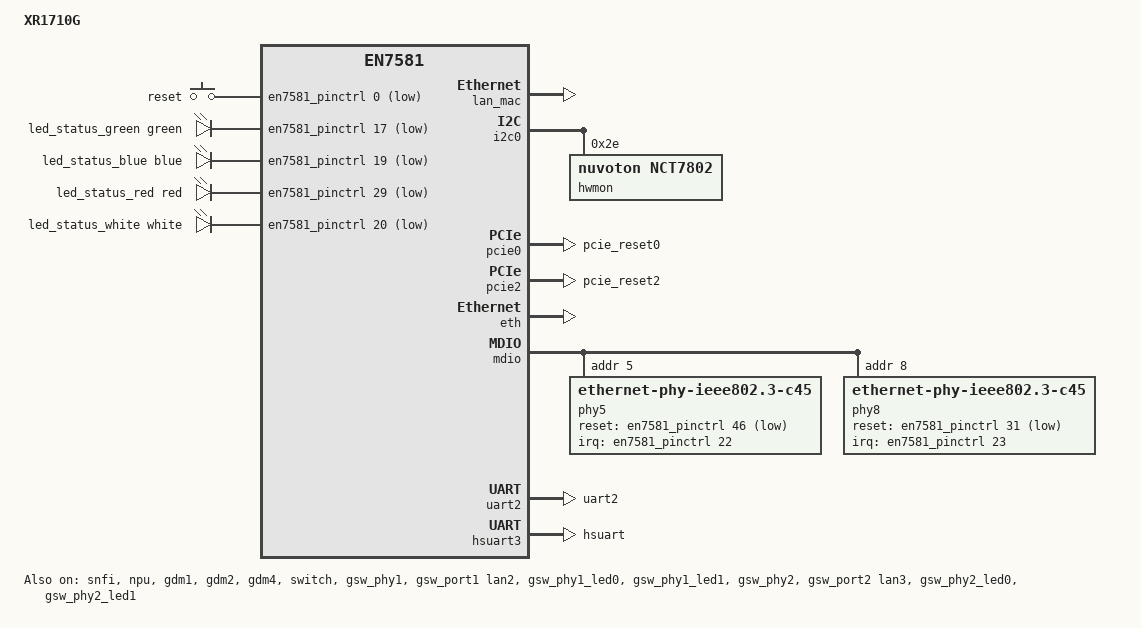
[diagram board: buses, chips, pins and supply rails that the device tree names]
// SPDX-License-Identifier: GPL-2.0-or-later OR MIT

/dts-v1/;

#include <dt-bindings/leds/common.h>
#include <dt-bindings/gpio/gpio.h>
#include <dt-bindings/input/input.h>
#include "an7581.dtsi"

/ {
	model = "XR1710G";
	compatible = "econet,xr1710g-ubi", "gemtek,xr1710g-ubi",
		     "econet,xr1710g", "gemtek,xr1710g",
		     "airoha,an7581", "airoha,en7581";

	aliases {
		serial0 = &uart1;
		led-boot = &led_status_red;
		led-failsafe = &led_status_blue;
		led-upgrade = &led_status_blue;
		led-running = &led_status_green;
	};

	chosen {
		rootdisk = <&ubi_rootfs>;
		bootargs = "console=ttyS0,115200 earlycon ubi.block=0,fit root=/dev/fit0 rootwait";
		stdout-path = "serial0:115200n8";
	};

	keys {
		compatible = "gpio-keys";

		key-restart {
			label = "reset";
			gpios = <&en7581_pinctrl 0 GPIO_ACTIVE_LOW>;
			linux,code = <KEY_RESTART>;
		};
	};

	leds {
		compatible = "gpio-leds";

		led_status_green: led-status-green {
			color = <LED_COLOR_ID_GREEN>;
			function = LED_FUNCTION_STATUS;
			gpios = <&en7581_pinctrl 17 GPIO_ACTIVE_LOW>;
		};

		led_status_blue: led-status-blue {
			color = <LED_COLOR_ID_BLUE>;
			function = LED_FUNCTION_STATUS;
			gpios = <&en7581_pinctrl 19 GPIO_ACTIVE_LOW>;
		};

		led_status_red: led-status-red {
			color = <LED_COLOR_ID_RED>;
			function = LED_FUNCTION_STATUS;
			gpios = <&en7581_pinctrl 29 GPIO_ACTIVE_LOW>;
			default-state = "on";
		};

		led_status_white: led-status-white {
			color = <LED_COLOR_ID_WHITE>;
			function = LED_FUNCTION_STATUS;
			gpios = <&en7581_pinctrl 20 GPIO_ACTIVE_LOW>;
		};

	};
};

&en7581_pinctrl {
	gpio-ranges = <&en7581_pinctrl 0 13 47>;

	mdio_pins: mdio-pins {
		mux {
			function = "mdio";
			groups = "mdio";
		};

		conf {
			pins = "gpio2";
			output-high;
		};
	};

	pcie0_rst_pins: pcie0-rst-pins {
		conf {
			pins = "pcie_reset0";
			drive-open-drain = <1>;
		};
	};

	pcie2_rst_pins: pcie2-rst-pins {
		conf {
			pins = "pcie_reset2";
			drive-open-drain = <1>;
		};
	};

	gswp1_led0_pins: gswp1-led0-pins {
		mux {
			function = "phy1_led0";
			pins = "gpio33";
		};
	};

	gswp1_led1_pins: gswp1-led1-pins {
		mux {
			function = "phy1_led1";
			pins = "gpio43";
		};
	};

	gswp2_led0_pins: gswp2-led0-pins {
		mux {
			function = "phy2_led0";
			pins = "gpio34";
		};
	};

	gswp2_led1_pins: gswp2-led1-pins {
		mux {
			function = "phy2_led1";
			pins = "gpio44";
		};
	};

	uart2_pins: uart2-pins {
		mux {
			function = "uart";
			groups = "uart2";
		};
	};

	hsuart_pins: hsuart-pins {
		mux {
			function = "uart";
			groups = "hsuart";
		};
	};
};

&snfi {
	status = "okay";
};

&spi_nand {
	#address-cells = <1>;
	#size-cells = <1>;
	partitions {
		compatible = "fixed-partitions";
		#address-cells = <1>;
		#size-cells = <1>;

		partition@0 {
			label = "vendor";
			reg = <0x00000000 0x00600000>;
			read-only;
		};

		partition@600000 {
			label = "chainloader";
			reg = <0x00600000 0x00100000>;
			read-only;
		};

		partition@700000 {
			label = "ubi";
			reg = <0x00700000 0x1f700000>;
			compatible = "linux,ubi";

			volumes {
				ubi-volume-ubootenv {
					volname = "ubootenv";
					nvmem-layout {
						compatible = "u-boot,env-redundant-bool";
					};
				};

				ubi-volume-ubootenv2 {
					volname = "ubootenv2";
					nvmem-layout {
						compatible = "u-boot,env-redundant-bool";
					};
				};

				ubi_rootfs: ubi-volume-fit {
					volname = "fit";
				};

				ubi_factory: ubi-volume-factory {
					volname = "factory";
				};
			};
		};

		reserved_bmt@1fe00000 {
			label = "reserved_bmt";
			reg = <0x1fe00000 0x00200000>;
			read-only;
		};
	};
};

&ubi_factory {
	nvmem-layout {
		compatible = "fixed-layout";
		#address-cells = <1>;
		#size-cells = <1>;

		eeprom: eeprom@0 {
			reg = <0x0 0x1e00>;
		};

		wan_mac: macaddr@5000 {
			reg = <0x5000 0x6>;
		};

		lan_mac: macaddr@6000 {
			compatible = "mac-base";
			reg = <0x6000 0x6>;
			#nvmem-cell-cells = <1>;
		};
	};
};

&i2c0 {
	status = "okay";

	hwmon@2e {
		compatible = "nuvoton,nct7802";
		reg = <0x2e>;
	};
};

&pcie0 {
	status = "okay";

	pinctrl-names = "default";
	pinctrl-0 = <&pcie0_rst_pins>;
	pcie@0,0 {
		reg = <0x0000 0 0 0 0>;
		device_type = "pci";
		#address-cells = <3>;
		#size-cells = <2>;

		mt7996@0,0 {
			reg = <0x0000 0 0 0 0>;
			#address-cells = <1>;
			#size-cells = <0>;
			nvmem-cells = <&eeprom>;
			nvmem-cell-names = "eeprom";
			airoha,npu = <&npu>;
			airoha,eth = <&eth>;

			band@0 {
				reg = <0>;
				nvmem-cells = <&lan_mac 1>;
				nvmem-cell-names = "mac-address";
			};

			band@1 {
				reg = <1>;
				nvmem-cells = <&lan_mac 2>;
				nvmem-cell-names = "mac-address";
			};

			band@2 {
				reg = <2>;
				nvmem-cells = <&lan_mac 3>;
				nvmem-cell-names = "mac-address";
			};
		};
	};
};

&pcie2 {
	status = "okay";

	pinctrl-names = "default";
	pinctrl-0 = <&pcie2_rst_pins>;
};

&npu {
	firmware-name = "airoha/en7581_MT7996_npu_rv32.bin",
		"airoha/en7581_MT7996_npu_data.bin";
	status = "okay";
};

&afe {
	status = "disabled";
};

&eth {
	status = "okay";
};

&gdm1 {
	status = "okay";

	nvmem-cells = <&lan_mac 0>;
	nvmem-cell-names = "mac-address";
};

&gdm2 {
	status = "okay";

	phy-handle = <&phy8>;
	phy-mode = "usxgmii";

	nvmem-cells = <&wan_mac 0>;
	nvmem-cell-names = "mac-address";
	openwrt,netdev-name = "wan";
};

&gdm4 {
	status = "okay";
	airoha,lan-port;

	phy-handle = <&phy5>;
	phy-mode = "usxgmii";

	nvmem-cells = <&lan_mac 0>;
	nvmem-cell-names = "mac-address";
	openwrt,netdev-name = "lan1";
};

&switch {
	status = "okay";

	pinctrl-names = "default";
	pinctrl-0 = <&mdio_pins>;

	mdio {
		phy5: ethernet-phy@5 {
			compatible = "ethernet-phy-ieee802.3-c45";
			reg = <5>;
			reset-gpios = <&en7581_pinctrl 46 GPIO_ACTIVE_LOW>;
			reset-assert-us = <200000>;
			reset-deassert-us = <200000>;
			interrupt-parent = <&en7581_pinctrl>;
			interrupts = <22 IRQ_TYPE_LEVEL_LOW>;
			realtek,pnswap-tx;
			realtek,pnswap-rx;
		};

		phy8: ethernet-phy@8 {
			compatible = "ethernet-phy-ieee802.3-c45";
			reg = <8>;
			reset-gpios = <&en7581_pinctrl 31 GPIO_ACTIVE_LOW>;
			reset-assert-us = <200000>;
			reset-deassert-us = <200000>;
			interrupt-parent = <&en7581_pinctrl>;
			interrupts = <23 IRQ_TYPE_LEVEL_LOW>;
			realtek,pnswap-tx;
			realtek,pnswap-rx;
		};
	};
};

&gsw_phy1 {
	status = "okay";
	pinctrl-names = "gbe-led";
	pinctrl-0 = <&gswp1_led0_pins>, <&gswp1_led1_pins>;
};

&gsw_port1 {
	status = "okay";
	label = "lan2";
};

&gsw_phy1_led0 {
	function = LED_FUNCTION_LAN;
	color = <LED_COLOR_ID_GREEN>;
	status = "okay";
	active-low;
};

&gsw_phy1_led1 {
	function = LED_FUNCTION_LAN;
	color = <LED_COLOR_ID_AMBER>;
	status = "okay";
	active-low;
};

&gsw_phy2 {
	status = "okay";
	pinctrl-names = "gbe-led";
	pinctrl-0 = <&gswp2_led0_pins>, <&gswp2_led1_pins>;
};

&gsw_port2 {
	status = "okay";
	label = "lan3";
};

&gsw_phy2_led0 {
	function = LED_FUNCTION_LAN;
	color = <LED_COLOR_ID_GREEN>;
	status = "okay";
	active-low;
};

&gsw_phy2_led1 {
	function = LED_FUNCTION_LAN;
	color = <LED_COLOR_ID_AMBER>;
	status = "okay";
	active-low;
};

&uart2 {
	status = "okay";
	pinctrl-names = "default";
	pinctrl-0 = <&uart2_pins>;
};

&hsuart3 {
	status = "okay";
	pinctrl-names = "default";
	pinctrl-0 = <&hsuart_pins>;
};
